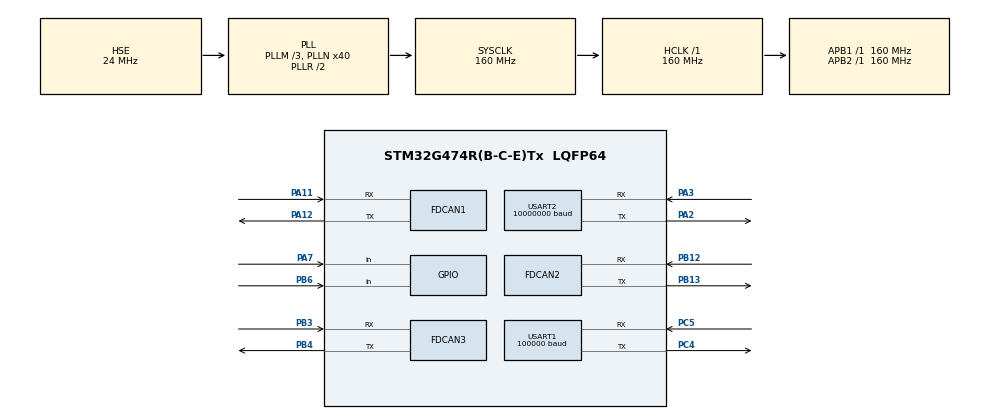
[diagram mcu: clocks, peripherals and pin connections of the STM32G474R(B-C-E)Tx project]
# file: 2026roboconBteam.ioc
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FDCAN1.CalculateBaudRateNominal=5333333
FDCAN1.CalculateTimeBitNominal=187
FDCAN1.CalculateTimeQuantumNominal=18.75
FDCAN1.NominalPrescaler=3
FDCAN1.NominalTimeSeg1=7
FDCAN1.NominalTimeSeg2=2
FDCAN2.AutoRetransmission=ENABLE
FDCAN2.CalculateBaudRateNominal=1000000
FDCAN2.CalculateTimeBitNominal=1000
FDCAN2.CalculateTimeQuantumNominal=6.25
FDCAN2.NominalPrescaler=1
FDCAN2.NominalSyncJumpWidth=60
FDCAN2.NominalTimeSeg1=123
FDCAN2.NominalTimeSeg2=36
FDCAN3.AutoRetransmission=ENABLE
FDCAN3.CalculateBaudRateNominal=3333333
FDCAN3.CalculateTimeBitNominal=300
FDCAN3.CalculateTimeQuantumNominal=100.0
FDCAN3.NominalSyncJumpWidth=60
Mcu.Family=STM32G4
Mcu.Name=STM32G474R(B-C-E)Tx
Mcu.Package=LQFP64
NVIC.FDCAN2_IT0_IRQn=true\:0\:0\:false\:false\:true\:true\:true\:true
NVIC.FDCAN2_IT1_IRQn=true\:0\:0\:false\:false\:true\:true\:true\:true
NVIC.PriorityGroup=NVIC_PRIORITYGROUP_4
NVIC.TIM1_BRK_TIM15_IRQn=true\:0\:0\:false\:false\:true\:true\:true\:true
NVIC.USART1_IRQn=true\:0\:0\:false\:false\:true\:true\:true\:true
PA11.Mode=FDCAN_Activate
PA11.Signal=FDCAN1_RX
PA12.Mode=FDCAN_Activate
PA12.Signal=FDCAN1_TX
PA2.Mode=Asynchronous
PA2.Signal=USART2_TX
PA3.Mode=Asynchronous
PA3.Signal=USART2_RX
PA7.Signal=GPIO_Input
PB12.Mode=FDCAN_Activate
PB12.Signal=FDCAN2_RX
PB13.Mode=FDCAN_Activate
PB13.Signal=FDCAN2_TX
PB3.Mode=FDCAN_Activate
PB3.Signal=FDCAN3_RX
PB4.Mode=FDCAN_Activate
PB4.Signal=FDCAN3_TX
PB6.Signal=GPIO_Input
PC4.Mode=Asynchronous
PC4.Signal=USART1_TX
PC5.Mode=Asynchronous
PC5.Signal=USART1_RX
PF0-OSC_IN.Mode=HSE-External-Oscillator
PF0-OSC_IN.Signal=RCC_OSC_IN
PF1-OSC_OUT.Mode=HSE-External-Oscillator
PF1-OSC_OUT.Signal=RCC_OSC_OUT
ProjectManager.HeapSize=0x200
ProjectManager.StackSize=0x400
ProjectManager.TargetToolchain=CMake
RCC.ADC12Freq_Value=160000000
RCC.ADC345Freq_Value=160000000
RCC.AHBFreq_Value=160000000
RCC.APB1Freq_Value=160000000
RCC.APB1TimFreq_Value=160000000
RCC.APB2Freq_Value=160000000
RCC.APB2TimFreq_Value=160000000
RCC.CortexFreq_Value=160000000
RCC.EXTERNAL_CLOCK_VALUE=12288000
RCC.HCLKFreq_Value=160000000
RCC.HSE_VALUE=24000000
RCC.HSI48_VALUE=48000000
RCC.HSI_VALUE=16000000
RCC.LSE_VALUE=32768
RCC.PLLM=RCC_PLLM_DIV3
RCC.PLLN=40
RCC.PLLSourceVirtual=RCC_PLLSOURCE_HSE
RCC.RTCClockSelection=RCC_RTCCLKSOURCE_LSE
RCC.SYSCLKFreq_VALUE=160000000
RCC.SYSCLKSource=RCC_SYSCLKSOURCE_PLLCLK
RCC.USBFreq_Value=160000000
RCC.VCOOutputFreq_Value=320000000
TIM15.PeriodNoDither=1000 - 1
TIM15.Prescaler=160 -1
USART1.BaudRate=100000
USART1.OverrunDisableParam=ADVFEATURE_OVERRUN_DISABLE
USART1.Parity=PARITY_EVEN
USART1.StopBits=STOPBITS_2
USART1.VirtualMode-Asynchronous=VM_ASYNC
USART1.WordLength=WORDLENGTH_9B
USART2.BaudRate=10000000
USART2.OverrunDisableParam=ADVFEATURE_OVERRUN_DISABLE
USART2.VirtualMode-Asynchronous=VM_ASYNC
VP_SYS_VS_DBSignals.Mode=DisableDeadBatterySignals
VP_TIM15_VS_ClockSourceINT.Mode=Internal
board=NUCLEO-G474RE

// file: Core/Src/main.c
/* USER CODE BEGIN Header */
/**
  ******************************************************************************
  * @file           : main.c
  * @brief          : Main program body
  ******************************************************************************
  * @attention
  *
  * Copyright (c) 2026 STMicroelectronics.
  * All rights reserved.
  *
  * This software is licensed under terms that can be found in the LICENSE file
  * in the root directory of this software component.
  * If no LICENSE file comes with this software, it is provided AS-IS.
  *
  ******************************************************************************
  */
/* USER CODE END Header */
#include "main.h"

/* USER CODE BEGIN Includes */
#include <stdio.h>
#include "stm32g4xx_hal.h"
#include "stm32g4xx_hal_fdcan.h"
#include <string.h>
#include <math.h>
#include "sbus.h"
#include "omni.h"
#include <stdint.h>
#include <sys/types.h>
#include <stdbool.h>
/* USER CODE END Includes */

FDCAN_HandleTypeDef hfdcan1;
FDCAN_HandleTypeDef hfdcan2;
FDCAN_HandleTypeDef hfdcan3;

TIM_HandleTypeDef htim15;

UART_HandleTypeDef huart1;
UART_HandleTypeDef huart2;

/* USER CODE BEGIN PV */
uint8_t RxData[8];
FDCAN_RxHeaderTypeDef RxHeader;
uint8_t TxData[8];
FDCAN_TxHeaderTypeDef TxHeader;

/* USER CODE END PV */

void SystemClock_Config(void);
static void MX_GPIO_Init(void);
static void MX_FDCAN1_Init(void);
static void MX_FDCAN2_Init(void);
static void MX_USART1_UART_Init(void);
static void MX_USART2_UART_Init(void);
static void MX_TIM15_Init(void);
static void MX_FDCAN3_Init(void);

/* USER CODE BEGIN 0 */
#define sbuskei 9000

motor mainMotor[4];
float lf,ls,rf,rs;
bool Tflag = true;
float kp=20.0f,ki=80.0f,kd=0.0f;

/* USER CODE END 0 */

int main(void)
{

  /* USER CODE BEGIN 1 */
for(int i=0;i<4;i++)motor_init(&mainMotor[i]);

  /* USER CODE END 1 */

  /* MCU Configuration--------------------------------------------------------*/

  /* Reset of all peripherals, Initializes the Flash interface and the Systick. */
  HAL_Init();

  /* Configure the system clock */
  SystemClock_Config();

  /* Initialize all configured peripherals */
  MX_GPIO_Init();
  MX_FDCAN1_Init();
  MX_FDCAN2_Init();
  MX_USART1_UART_Init();
  MX_USART2_UART_Init();
  MX_TIM15_Init();
  MX_FDCAN3_Init();
  /* USER CODE BEGIN 2 */
  sbus_init(&huart1);
  while(sbus_available())
      sbus_init(&huart1);

  sbus_set(5 ,SBUS_VR);//VR
  sbus_set(6 ,SBUS_SW);//A
  sbus_set(7 ,SBUS_SW);//D
  sbus_set(8 ,SBUS_SW);//E
  sbus_set(9 ,SBUS_SW);//F
  sbus_set(10,SBUS_SW);//G

  HAL_FDCAN_Start(&hfdcan2);
  HAL_FDCAN_ActivateNotification(&hfdcan2,FDCAN_IT_TX_FIFO_EMPTY,0);
  HAL_FDCAN_ActivateNotification(&hfdcan2,FDCAN_IT_RX_FIFO0_NEW_MESSAGE,0);
  HAL_TIM_Base_Start_IT(&htim15);
  /* USER CODE END 2 */

  /* Infinite loop */
  /* USER CODE BEGIN WHILE */
  while (1)
  {
    if(!Tflag)continue;
    Tflag = false;
    sbus_update();
    if(!sbus_get(9)){
      stop();
      continue;
    }
    lf = dead(sbus_get(3), -0.1f, 0.1f);
    ls = dead(sbus_get(4), -0.1f, 0.1f);
    rf = dead(sbus_get(2), -0.1f, 0.1f);
    rs = dead(sbus_get(1), -0.1f, 0.1f);
    OmniControl(lf*(sbus_get(8)+0.5),ls*(sbus_get(8)+0.5),rs*(sbus_get(8)+0.5));
    printf("%6d,",mainMotor[0].speed);
    printf("%6d,",mainMotor[0].target_speed);
    printf("%6d,",mainMotor[0].power);
    /* USER CODE END WHILE */

    /* USER CODE BEGIN 3 */
    printf("\n");

    /*
    一応メモとしてリミットスイッチの押されたらの条件式書いとく
    if(HAL_GPIO_ReadPin(GPIOB, GPIO_PIN_6) == GPIO_PIN_SET)
    */
  }
  /* USER CODE END 3 */
}

void SystemClock_Config(void)
{
  RCC_OscInitTypeDef RCC_OscInitStruct = {0};
  RCC_ClkInitTypeDef RCC_ClkInitStruct = {0};

  /** Configure the main internal regulator output voltage
  */
  HAL_PWREx_ControlVoltageScaling(PWR_REGULATOR_VOLTAGE_SCALE1_BOOST);

  /** Initializes the RCC Oscillators according to the specified parameters
  * in the RCC_OscInitTypeDef structure.
  */
  RCC_OscInitStruct.OscillatorType = RCC_OSCILLATORTYPE_HSE;
  RCC_OscInitStruct.HSEState = RCC_HSE_ON;
  RCC_OscInitStruct.PLL.PLLState = RCC_PLL_ON;
  RCC_OscInitStruct.PLL.PLLSource = RCC_PLLSOURCE_HSE;
  RCC_OscInitStruct.PLL.PLLM = RCC_PLLM_DIV3;
  RCC_OscInitStruct.PLL.PLLN = 40;
  RCC_OscInitStruct.PLL.PLLP = RCC_PLLP_DIV2;
  RCC_OscInitStruct.PLL.PLLQ = RCC_PLLQ_DIV2;
  RCC_OscInitStruct.PLL.PLLR = RCC_PLLR_DIV2;
  if (HAL_RCC_OscConfig(&RCC_OscInitStruct) != HAL_OK)
  {
    Error_Handler();
  }

  /** Initializes the CPU, AHB and APB buses clocks
  */
  RCC_ClkInitStruct.ClockType = RCC_CLOCKTYPE_HCLK|RCC_CLOCKTYPE_SYSCLK
                              |RCC_CLOCKTYPE_PCLK1|RCC_CLOCKTYPE_PCLK2;
  RCC_ClkInitStruct.SYSCLKSource = RCC_SYSCLKSOURCE_PLLCLK;
  RCC_ClkInitStruct.AHBCLKDivider = RCC_SYSCLK_DIV1;
  RCC_ClkInitStruct.APB1CLKDivider = RCC_HCLK_DIV1;
  RCC_ClkInitStruct.APB2CLKDivider = RCC_HCLK_DIV1;

  if (HAL_RCC_ClockConfig(&RCC_ClkInitStruct, FLASH_LATENCY_4) != HAL_OK)
  {
    Error_Handler();
  }
}

static void MX_FDCAN1_Init(void)
{

  hfdcan1.Instance = FDCAN1;
  hfdcan1.Init.ClockDivider = FDCAN_CLOCK_DIV1;
  hfdcan1.Init.FrameFormat = FDCAN_FRAME_CLASSIC;
  hfdcan1.Init.Mode = FDCAN_MODE_NORMAL;
  hfdcan1.Init.AutoRetransmission = DISABLE;
  hfdcan1.Init.TransmitPause = DISABLE;
  hfdcan1.Init.ProtocolException = DISABLE;
  hfdcan1.Init.NominalPrescaler = 3;
  hfdcan1.Init.NominalSyncJumpWidth = 1;
  hfdcan1.Init.NominalTimeSeg1 = 7;
  hfdcan1.Init.NominalTimeSeg2 = 2;
  hfdcan1.Init.DataPrescaler = 1;
  hfdcan1.Init.DataSyncJumpWidth = 1;
  hfdcan1.Init.DataTimeSeg1 = 1;
  hfdcan1.Init.DataTimeSeg2 = 1;
  hfdcan1.Init.StdFiltersNbr = 0;
  hfdcan1.Init.ExtFiltersNbr = 0;
  hfdcan1.Init.TxFifoQueueMode = FDCAN_TX_FIFO_OPERATION;
  if (HAL_FDCAN_Init(&hfdcan1) != HAL_OK)
  {
    Error_Handler();
  }

}

static void MX_FDCAN2_Init(void)
{

  hfdcan2.Instance = FDCAN2;
  hfdcan2.Init.ClockDivider = FDCAN_CLOCK_DIV1;
  hfdcan2.Init.FrameFormat = FDCAN_FRAME_CLASSIC;
  hfdcan2.Init.Mode = FDCAN_MODE_NORMAL;
  hfdcan2.Init.AutoRetransmission = ENABLE;
  hfdcan2.Init.TransmitPause = DISABLE;
  hfdcan2.Init.ProtocolException = DISABLE;
  hfdcan2.Init.NominalPrescaler = 1;
  hfdcan2.Init.NominalSyncJumpWidth = 60;
  hfdcan2.Init.NominalTimeSeg1 = 123;
  hfdcan2.Init.NominalTimeSeg2 = 36;
  hfdcan2.Init.DataPrescaler = 1;
  hfdcan2.Init.DataSyncJumpWidth = 1;
  hfdcan2.Init.DataTimeSeg1 = 1;
  hfdcan2.Init.DataTimeSeg2 = 1;
  hfdcan2.Init.StdFiltersNbr = 0;
  hfdcan2.Init.ExtFiltersNbr = 0;
  hfdcan2.Init.TxFifoQueueMode = FDCAN_TX_FIFO_OPERATION;
  if (HAL_FDCAN_Init(&hfdcan2) != HAL_OK)
  {
    Error_Handler();
  }
  /* USER CODE BEGIN FDCAN2_Init 2 */
  FDCAN_FilterTypeDef sFilterConfig;
  sFilterConfig.IdType = FDCAN_STANDARD_ID;
  sFilterConfig.FilterIndex = 0;
  sFilterConfig.FilterType = FDCAN_FILTER_MASK;
  sFilterConfig.FilterConfig = FDCAN_FILTER_TO_RXFIFO0;
  sFilterConfig.FilterID1 = 0x000;
  sFilterConfig.FilterID2 = 0x000;
  if (HAL_FDCAN_ConfigFilter(&hfdcan2, &sFilterConfig) != HAL_OK) {
    Error_Handler();
  }
  /* USER CODE END FDCAN2_Init 2 */

}

static void MX_FDCAN3_Init(void)
{

  hfdcan3.Instance = FDCAN3;
  hfdcan3.Init.ClockDivider = FDCAN_CLOCK_DIV1;
  hfdcan3.Init.FrameFormat = FDCAN_FRAME_CLASSIC;
  hfdcan3.Init.Mode = FDCAN_MODE_NORMAL;
  hfdcan3.Init.AutoRetransmission = ENABLE;
  hfdcan3.Init.TransmitPause = DISABLE;
  hfdcan3.Init.ProtocolException = DISABLE;
  hfdcan3.Init.NominalPrescaler = 16;
  hfdcan3.Init.NominalSyncJumpWidth = 60;
  hfdcan3.Init.NominalTimeSeg1 = 1;
  hfdcan3.Init.NominalTimeSeg2 = 1;
  hfdcan3.Init.DataPrescaler = 1;
  hfdcan3.Init.DataSyncJumpWidth = 1;
  hfdcan3.Init.DataTimeSeg1 = 1;
  hfdcan3.Init.DataTimeSeg2 = 1;
  hfdcan3.Init.StdFiltersNbr = 0;
  hfdcan3.Init.ExtFiltersNbr = 0;
  hfdcan3.Init.TxFifoQueueMode = FDCAN_TX_FIFO_OPERATION;
  if (HAL_FDCAN_Init(&hfdcan3) != HAL_OK)
  {
    Error_Handler();
  }

}

static void MX_TIM15_Init(void)
{

  TIM_ClockConfigTypeDef sClockSourceConfig = {0};
  TIM_MasterConfigTypeDef sMasterConfig = {0};

  htim15.Instance = TIM15;
  htim15.Init.Prescaler = 160 -1;
  htim15.Init.CounterMode = TIM_COUNTERMODE_UP;
  htim15.Init.Period = 999;
  htim15.Init.ClockDivision = TIM_CLOCKDIVISION_DIV1;
  htim15.Init.RepetitionCounter = 0;
  htim15.Init.AutoReloadPreload = TIM_AUTORELOAD_PRELOAD_DISABLE;
  if (HAL_TIM_Base_Init(&htim15) != HAL_OK)
  {
    Error_Handler();
  }
  sClockSourceConfig.ClockSource = TIM_CLOCKSOURCE_INTERNAL;
  if (HAL_TIM_ConfigClockSource(&htim15, &sClockSourceConfig) != HAL_OK)
  {
    Error_Handler();
  }
  sMasterConfig.MasterOutputTrigger = TIM_TRGO_RESET;
  sMasterConfig.MasterSlaveMode = TIM_MASTERSLAVEMODE_DISABLE;
  if (HAL_TIMEx_MasterConfigSynchronization(&htim15, &sMasterConfig) != HAL_OK)
  {
    Error_Handler();
  }

}

static void MX_USART1_UART_Init(void)
{

  huart1.Instance = USART1;
  huart1.Init.BaudRate = 100000;
  huart1.Init.WordLength = UART_WORDLENGTH_9B;
  huart1.Init.StopBits = UART_STOPBITS_2;
  huart1.Init.Parity = UART_PARITY_EVEN;
  huart1.Init.Mode = UART_MODE_TX_RX;
  huart1.Init.HwFlowCtl = UART_HWCONTROL_NONE;
  huart1.Init.OverSampling = UART_OVERSAMPLING_16;
  huart1.Init.OneBitSampling = UART_ONE_BIT_SAMPLE_DISABLE;
  huart1.Init.ClockPrescaler = UART_PRESCALER_DIV1;
  huart1.AdvancedInit.AdvFeatureInit = UART_ADVFEATURE_RXOVERRUNDISABLE_INIT;
  huart1.AdvancedInit.OverrunDisable = UART_ADVFEATURE_OVERRUN_DISABLE;
  if (HAL_UART_Init(&huart1) != HAL_OK)
  {
    Error_Handler();
  }
  if (HAL_UARTEx_SetTxFifoThreshold(&huart1, UART_TXFIFO_THRESHOLD_1_8) != HAL_OK)
  {
    Error_Handler();
  }
  if (HAL_UARTEx_SetRxFifoThreshold(&huart1, UART_RXFIFO_THRESHOLD_1_8) != HAL_OK)
  {
    Error_Handler();
  }
  if (HAL_UARTEx_DisableFifoMode(&huart1) != HAL_OK)
  {
    Error_Handler();
  }

}

static void MX_USART2_UART_Init(void)
{

  huart2.Instance = USART2;
  huart2.Init.BaudRate = 10000000;
  huart2.Init.WordLength = UART_WORDLENGTH_8B;
  huart2.Init.StopBits = UART_STOPBITS_1;
  huart2.Init.Parity = UART_PARITY_NONE;
  huart2.Init.Mode = UART_MODE_TX_RX;
  huart2.Init.HwFlowCtl = UART_HWCONTROL_NONE;
  huart2.Init.OverSampling = UART_OVERSAMPLING_16;
  huart2.Init.OneBitSampling = UART_ONE_BIT_SAMPLE_DISABLE;
  huart2.Init.ClockPrescaler = UART_PRESCALER_DIV1;
  huart2.AdvancedInit.AdvFeatureInit = UART_ADVFEATURE_RXOVERRUNDISABLE_INIT;
  huart2.AdvancedInit.OverrunDisable = UART_ADVFEATURE_OVERRUN_DISABLE;
  if (HAL_UART_Init(&huart2) != HAL_OK)
  {
    Error_Handler();
  }
  if (HAL_UARTEx_SetTxFifoThreshold(&huart2, UART_TXFIFO_THRESHOLD_1_8) != HAL_OK)
  {
    Error_Handler();
  }
  if (HAL_UARTEx_SetRxFifoThreshold(&huart2, UART_RXFIFO_THRESHOLD_1_8) != HAL_OK)
  {
    Error_Handler();
  }
  if (HAL_UARTEx_DisableFifoMode(&huart2) != HAL_OK)
  {
    Error_Handler();
  }

}

static void MX_GPIO_Init(void)
{
  GPIO_InitTypeDef GPIO_InitStruct = {0};

  /* GPIO Ports Clock Enable */
  __HAL_RCC_GPIOF_CLK_ENABLE();
  __HAL_RCC_GPIOA_CLK_ENABLE();
  __HAL_RCC_GPIOC_CLK_ENABLE();
  __HAL_RCC_GPIOB_CLK_ENABLE();

  /*Configure GPIO pin : PA7 */
  GPIO_InitStruct.Pin = GPIO_PIN_7;
  GPIO_InitStruct.Mode = GPIO_MODE_INPUT;
  GPIO_InitStruct.Pull = GPIO_NOPULL;
  HAL_GPIO_Init(GPIOA, &GPIO_InitStruct);

  /*Configure GPIO pin : PB6 */
  GPIO_InitStruct.Pin = GPIO_PIN_6;
  GPIO_InitStruct.Mode = GPIO_MODE_INPUT;
  GPIO_InitStruct.Pull = GPIO_NOPULL;
  HAL_GPIO_Init(GPIOB, &GPIO_InitStruct);

}

/* USER CODE BEGIN 4 */
int __io_putchar(int ch) {
    HAL_UART_Transmit(&huart2, (uint8_t*)&ch, 1, HAL_MAX_DELAY);
    return ch;
}

void print(const char* format, int value) {
    char msg[64];
    sprintf(msg, format, value);
    HAL_UART_Transmit(&huart2, (uint8_t*)msg, strlen(msg), HAL_MAX_DELAY);
}

void HAL_FDCAN_RxFifo0Callback(FDCAN_HandleTypeDef *hfdcan,uint32_t RxFifo0ITs){
    FDCAN_RxHeaderTypeDef RxHeader;

    if (RxFifo0ITs & FDCAN_IT_RX_FIFO0_NEW_MESSAGE)
    {

      HAL_FDCAN_GetRxMessage(
          hfdcan,
          FDCAN_RX_FIFO0,
          &RxHeader,
          RxData
      );
      if(RxHeader.Identifier==0x201){
        mainMotor[0].speed=(RxData[2] << 8) | RxData[3];
      }else if(RxHeader.Identifier==0x202){
        mainMotor[1].speed=(RxData[2] << 8) | RxData[3];
      }else if(RxHeader.Identifier==0x203){
        mainMotor[2].speed=(RxData[2] << 8) | RxData[3];
      }else if(RxHeader.Identifier==0x204){
        mainMotor[3].speed=(RxData[2] << 8) | RxData[3];
      }
    }
}

void CAN_SendCurrent(int16_t m1, int16_t m2, int16_t m3, int16_t m4)
{

  TxHeader.Identifier = 0x200;
  TxHeader.IdType = FDCAN_STANDARD_ID;
  TxHeader.TxFrameType = FDCAN_DATA_FRAME;
  TxHeader.DataLength = FDCAN_DLC_BYTES_8;
  TxHeader.ErrorStateIndicator = FDCAN_ESI_ACTIVE;
  TxHeader.BitRateSwitch = FDCAN_BRS_OFF;
  TxHeader.FDFormat = FDCAN_CLASSIC_CAN;
  TxHeader.TxEventFifoControl = FDCAN_NO_TX_EVENTS;
  TxHeader.MessageMarker = 0;

  TxData[0] = m1 >> 8;
  TxData[1] = m1 & 0xFF;
  TxData[2] = m2 >> 8;
  TxData[3] = m2 & 0xFF;
  TxData[4] = m3 >> 8;
  TxData[5] = m3 & 0xFF;
  TxData[6] = m4 >> 8;
  TxData[7] = m4 & 0xFF;

  if(HAL_FDCAN_AddMessageToTxFifoQ(&hfdcan2, &TxHeader, TxData) != HAL_OK)
  {
      return;
  }
}

void OmniControl(double front,double side,double ang){
  HAL_FDCAN_RxFifo0Callback(&hfdcan2,0x201);
  HAL_FDCAN_RxFifo0Callback(&hfdcan2,0x202);
  HAL_FDCAN_RxFifo0Callback(&hfdcan2,0x203);
  HAL_FDCAN_RxFifo0Callback(&hfdcan2,0x204);
  front *= sbuskei;
  side  *= sbuskei;
  ang   *= sbuskei;
  for(int i=0;i<4;i++){
    SetTargetSpeed(&mainMotor[i], (int)(Omni(front,side,ang,i)));
    PID(&mainMotor[i],mainMotor[i].speed,kp,ki,kd);
    mainMotor[i].power = limit(mainMotor[i].power,-10000,10000);
  }
  CAN_SendCurrent(mainMotor[0].power,mainMotor[1].power,mainMotor[2].power,mainMotor[3].power);
}

void stop(){
  OmniControl(0,0,0);
}

void HAL_TIM_PeriodElapsedCallback(TIM_HandleTypeDef *htim){
  if(htim == &htim15){
    Tflag = true;
  }
}

int sbusreturn(){return sbuskei;}

/* USER CODE END 4 */

void Error_Handler(void)
{
  __disable_irq();
  while (1)
  {
  }
}
